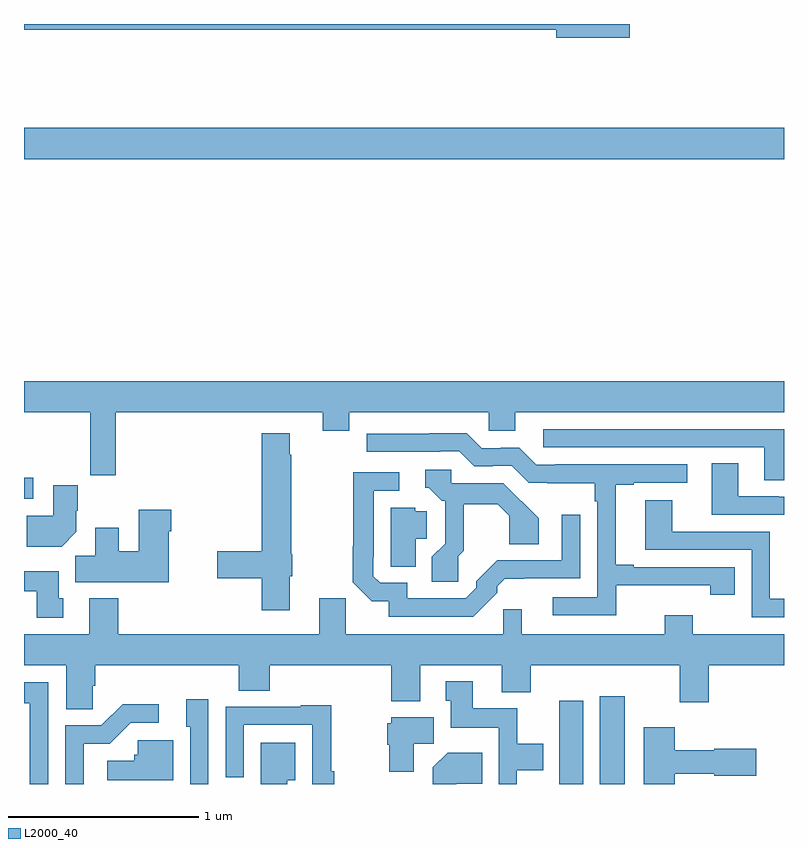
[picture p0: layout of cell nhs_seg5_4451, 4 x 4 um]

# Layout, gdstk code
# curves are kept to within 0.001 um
import gdstk
lib = gdstk.Library(unit=1e-6, precision=1e-09)
def R(c, l, rs):  # rectangles x0, y0, x1, y1
    for r in rs: c.add(gdstk.rectangle(r[:2], r[2:], *l))
def P(c, l, *ps):  # polygons
    for p in ps: c.add(gdstk.Polygon(p, *l))
L2000_40 = (2000, 40)

nhs_seg5_4451 = lib.new_cell('nhs_seg5_4451')
R(nhs_seg5_4451, L2000_40, [(375.818,858.799,375.943,859.237), (376.031,858.799,376.162,859.261), (373,860.301,373.048,860.41), (373,862.088,377,862.252)])
P(nhs_seg5_4451, L2000_40, [(376.189,862.799),(373,862.799),(373,862.768),(375.8,862.768),(375.8,862.726),(376.189,862.726)],
  [(373,860.756),(373.348,860.756),(373.348,860.536),(373.349,860.536),(373.349,860.424),(373.484,860.424),(373.484,860.756),(374.573,860.756),(374.573,860.657),(374.713,860.657),(374.713,860.756),(375.447,860.756),(375.447,860.658),(375.586,860.658),(375.586,860.756),(377,860.756),(377,860.92),(373,860.92)],
  [(377,860.667),(375.732,860.667),(375.732,860.571),(376.895,860.571),(376.895,860.398),(377,860.398)],
  [(376.118,859.844),(376.613,859.844),(376.613,859.794),(376.741,859.794),(376.741,859.941),(376.21,859.941),(376.21,859.954),(376.114,859.954),(376.114,860.373),(376.21,860.373),(376.21,860.385),(376.492,860.385),(376.492,860.481),(375.796,860.481),(375.796,860.478),(375.696,860.478),(375.606,860.568),(375.509,860.568),(375.509,860.565),(375.408,860.565),(375.329,860.644),(374.805,860.643),(374.805,860.547),(375.191,860.547),(375.191,860.55),(375.291,860.55),(375.369,860.472),(375.467,860.472),(375.467,860.475),(375.567,860.475),(375.657,860.385),(375.754,860.385),(375.754,860.382),(376.005,860.382),(376.005,860.288),(376.017,860.288),(376.017,859.782),(375.783,859.782),(375.783,859.686),(376.118,859.686)],
  [(374.398,859.893),(374.412,859.893),(374.412,860.007),(374.406,860.007),(374.406,860.531),(374.398,860.531),(374.398,860.644),(374.252,860.644),(374.252,860.024),(374.016,860.024),(374.016,859.882),(374.252,859.882),(374.252,859.713),(374.398,859.713)],
  [(377,860.31),(376.973,860.31),(376.973,860.313),(376.759,860.313),(376.759,860.486),(376.619,860.486),(376.619,860.217),(377,860.217)],
  [(375.285,859.997),(375.314,860.026),(375.314,860.271),(375.493,860.271),(375.555,860.21),(375.555,860.062),(375.709,860.062),(375.709,860.198),(375.523,860.382),(375.249,860.382),(375.249,860.454),(375.113,860.454),(375.113,860.358),(375.129,860.358),(375.198,860.289),(375.216,860.289),(375.216,860.064),(375.146,859.994),(375.146,859.863),(375.285,859.863)],
  [(375.49,859.805),(375.49,859.84),(375.53,859.88),(375.927,859.881),(375.927,860.215),(375.831,860.215),(375.831,859.977),(375.491,859.977),(375.381,859.867),(375.381,859.833),(375.324,859.776),(375.018,859.776),(375.018,859.857),(374.874,859.857),(374.838,859.893),(374.838,859.993),(374.841,859.993),(374.841,860.343),(374.974,860.343),(374.974,860.439),(374.733,860.439),(374.733,860.051),(374.73,860.051),(374.73,859.86),(374.83,859.761),(374.92,859.761),(374.92,859.68),(375.364,859.68)],
  [(373.276,860.126),(373.276,860.236),(373.283,860.236),(373.283,860.371),(373.154,860.371),(373.154,860.212),(373.015,860.212),(373.015,860.048),(373.198,860.048)],
  [(377,859.773),(376.926,859.773),(376.926,860.127),(376.411,860.127),(376.411,860.293),(376.271,860.293),(376.271,860.031),(376.83,860.031),(376.83,859.677),(377,859.677)],
  [(375.061,860.09),(375.12,860.09),(375.12,860.235),(375.06,860.235),(375.06,860.254),(374.931,860.254),(374.931,859.942),(375.061,859.942)],
  [(373.762,860.129),(373.775,860.129),(373.775,860.242),(373.604,860.242),(373.604,860.024),(373.498,860.024),(373.498,860.149),(373.376,860.149),(373.376,860),(373.271,860),(373.271,859.862),(373.762,859.862)],
  [(373.207,859.776),(373.183,859.776),(373.183,859.918),(373,859.918),(373,859.814),(373.067,859.814),(373.067,859.674),(373.207,859.674)],
  [(373.362,859.315),(373.376,859.315),(373.376,859.424),(374.129,859.424),(374.129,859.291),(374.294,859.291),(374.294,859.424),(374.933,859.424),(374.933,859.235),(375.085,859.235),(375.085,859.424),(375.515,859.424),(375.515,859.283),(375.668,859.283),(375.668,859.424),(376.451,859.424),(376.451,859.23),(376.604,859.23),(376.604,859.424),(377,859.424),(377,859.588),(376.521,859.588),(376.521,859.687),(376.373,859.687),(376.373,859.588),(375.619,859.588),(375.619,859.718),(375.523,859.718),(375.523,859.588),(374.693,859.588),(374.693,859.776),(374.555,859.776),(374.555,859.588),(373.496,859.588),(373.496,859.777),(373.343,859.777),(373.343,859.588),(373,859.588),(373,859.424),(373.223,859.424),(373.223,859.192),(373.362,859.192)],
  [(375.594,858.872),(375.733,858.872),(375.733,859.012),(375.597,859.012),(375.597,859.198),(375.361,859.198),(375.361,859.339),(375.221,859.339),(375.221,859.236),(375.245,859.236),(375.245,859.094),(375.498,859.094),(375.498,858.799),(375.594,858.799)],
  [(373.128,859.335),(373,859.335),(373,859.224),(373.031,859.224),(373.031,858.799),(373.128,858.799)],
  [(373.971,859.246),(373.853,859.246),(373.853,859.101),(373.875,859.101),(373.875,858.799),(373.971,858.799)],
  [(373.314,859.011),(373.452,859.011),(373.563,859.122),(373.708,859.122),(373.708,859.22),(373.52,859.22),(373.407,859.107),(373.218,859.107),(373.218,858.799),(373.314,858.799)],
  [(374.633,858.867),(374.618,858.867),(374.618,859.213),(374.457,859.213),(374.457,859.206),(374.061,859.206),(374.061,858.834),(374.157,858.834),(374.157,859.11),(374.517,859.11),(374.517,858.799),(374.633,858.799)],
  [(375.052,859.012),(375.157,859.012),(375.157,859.15),(374.934,859.15),(374.934,859.119),(374.912,859.119),(374.912,859.005),(374.923,859.005),(374.923,858.864),(375.052,858.864)],
  [(376.424,858.854),(376.632,858.854),(376.632,858.842),(376.855,858.842),(376.855,858.984),(376.632,858.984),(376.632,858.976),(376.426,858.976),(376.426,859.099),(376.262,859.099),(376.262,858.799),(376.424,858.799)],
  [(373.786,859.029),(373.599,859.029),(373.599,858.954),(373.58,858.954),(373.58,858.922),(373.437,858.922),(373.437,858.818),(373.786,858.818)],
  [(374.386,858.818),(374.428,858.818),(374.428,859.015),(374.246,859.015),(374.246,858.799),(374.386,858.799)],
  [(375.274,858.8),(375.413,858.8),(375.413,858.964),(375.23,858.964),(375.152,858.886),(375.152,858.799),(375.274,858.799)])

lib.write_gds('nhs_seg5_4451.gds')
